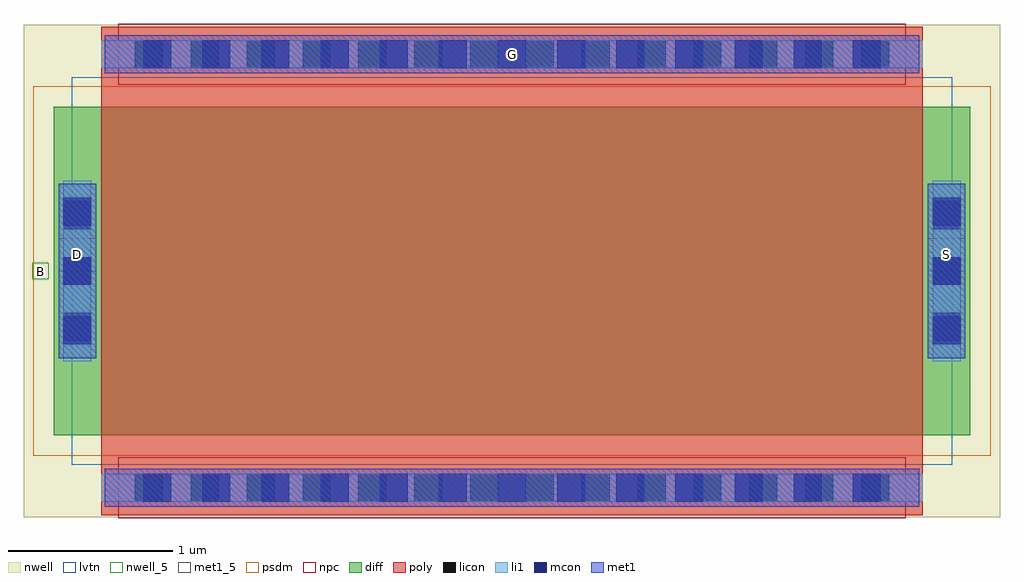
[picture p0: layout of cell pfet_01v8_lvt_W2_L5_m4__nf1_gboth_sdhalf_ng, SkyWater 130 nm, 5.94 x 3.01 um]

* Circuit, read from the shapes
.subckt pfet_01v8_lvt_W2_L5_m4__nf1_gboth_sdhalf_ng B D G S
XM1 S G D B sky130_fd_pr__pfet_01v8_lvt w=2 l=5
.ends

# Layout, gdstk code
import gdstk
lib = gdstk.Library(unit=1e-6, precision=1e-09)
def R(c, l, rs):  # rectangles x0, y0, x1, y1
    for r in rs: c.add(gdstk.rectangle(r[:2], r[2:], *l))
def A(c, l, x, y, w, h, nx, ny, dx, dy):  # array of equal rectangles
    R(c, l, [(x+i*dx, y+j*dy, x+i*dx+w, y+j*dy+h) for i in range(nx) for j in range(ny)])
nwell_5 = (64, 5)
nwell = (64, 20)
diff = (65, 20)
poly = (66, 20)
licon = (66, 44)
li1 = (67, 20)
mcon = (67, 44)
met1_5 = (68, 5)
met1 = (68, 20)
psdm = (94, 20)
npc = (95, 20)
lvtn = (125, 44)

sky130_fd_pr__pfet_01v8_ = lib.new_cell('sky130_fd_pr__pfet_01v8_lvt_PP864H')
R(sky130_fd_pr__pfet_01v8_, nwell, [(-2.97,-1.5,2.97,1.5)])
R(sky130_fd_pr__pfet_01v8_, diff, [(-2.79,-1,2.79,1)])
R(sky130_fd_pr__pfet_01v8_, poly, [(-2.5,-1.485,2.5,1.485)])
A(sky130_fd_pr__pfet_01v8_, licon, -2.295, -1.405, 0.17, 0.17, 14, 2, 0.34, 2.64)
A(sky130_fd_pr__pfet_01v8_, licon, -2.73, -0.425, 0.17, 0.17, 1, 3, 0, 0.34)
A(sky130_fd_pr__pfet_01v8_, licon, 2.56, -0.425, 0.17, 0.17, 1, 3, 0, 0.34)
R(sky130_fd_pr__pfet_01v8_, li1, [(-2.5,-1.405,2.5,-1.235), (-2.73,-0.55,-2.56,0.55), (2.56,-0.55,2.73,0.55), (-2.5,1.235,2.5,1.405)])
A(sky130_fd_pr__pfet_01v8_, mcon, -2.245, -1.405, 0.17, 0.17, 13, 2, 0.36, 2.64)
A(sky130_fd_pr__pfet_01v8_, mcon, -2.73, -0.445, 0.17, 0.17, 1, 3, 0, 0.36)
A(sky130_fd_pr__pfet_01v8_, mcon, 2.56, -0.445, 0.17, 0.17, 1, 3, 0, 0.36)
R(sky130_fd_pr__pfet_01v8_, met1, [(-2.48,-1.435,2.48,-1.205), (-2.76,-0.53,-2.53,0.53), (2.53,-0.53,2.76,0.53), (-2.48,1.205,2.48,1.435)])
R(sky130_fd_pr__pfet_01v8_, psdm, [(-2.915,-1.125,2.915,1.125)])
R(sky130_fd_pr__pfet_01v8_, npc, [(-2.395,-1.505,2.395,-1.135), (-2.395,1.135,2.395,1.505)])
R(sky130_fd_pr__pfet_01v8_, lvtn, [(-2.68,-1.18,2.68,1.18)])
sky130_fd_pr__pfet_01v8_.add(gdstk.Label('D', (-2.645,0), layer=67, texttype=5))
sky130_fd_pr__pfet_01v8_.add(gdstk.Label('S', (2.645,0), layer=67, texttype=5))
sky130_fd_pr__pfet_01v8_.add(gdstk.Label('G', (0,1.32), layer=67, texttype=5))

pfet_01v8_lvt_w2_l5_m4__ = lib.new_cell('pfet_01v8_lvt_W2_L5_m4__nf1_gboth_sdhalf_ng')
R(pfet_01v8_lvt_w2_l5_m4__, nwell_5, [(0.05,1.45,0.15,1.55)])
R(pfet_01v8_lvt_w2_l5_m4__, nwell, [(0.05,1.45,0.15,1.55)])
R(pfet_01v8_lvt_w2_l5_m4__, met1_5, [(0.21,1.5,0.44,1.7), (5.5,1.5,5.73,1.7), (0.49,2.705,5.45,2.935)])
R(pfet_01v8_lvt_w2_l5_m4__, met1, [(0.21,1.5,0.44,1.7), (5.5,1.5,5.73,1.7), (0.49,2.705,5.45,2.935)])
pfet_01v8_lvt_w2_l5_m4__.add(gdstk.Reference(sky130_fd_pr__pfet_01v8_, (2.97,1.5)))
pfet_01v8_lvt_w2_l5_m4__.add(gdstk.Label('D', (0.325,1.6), layer=68, texttype=5))
pfet_01v8_lvt_w2_l5_m4__.add(gdstk.Label('S', (5.615,1.6), layer=68, texttype=5))
pfet_01v8_lvt_w2_l5_m4__.add(gdstk.Label('G', (2.97,2.82), layer=68, texttype=5))
pfet_01v8_lvt_w2_l5_m4__.add(gdstk.Label('B', (0.1,1.5), layer=64, texttype=5))

lib.write_gds('pfet_01v8_lvt_W2_L5_m4__nf1_gboth_sdhalf_ng.gds')
